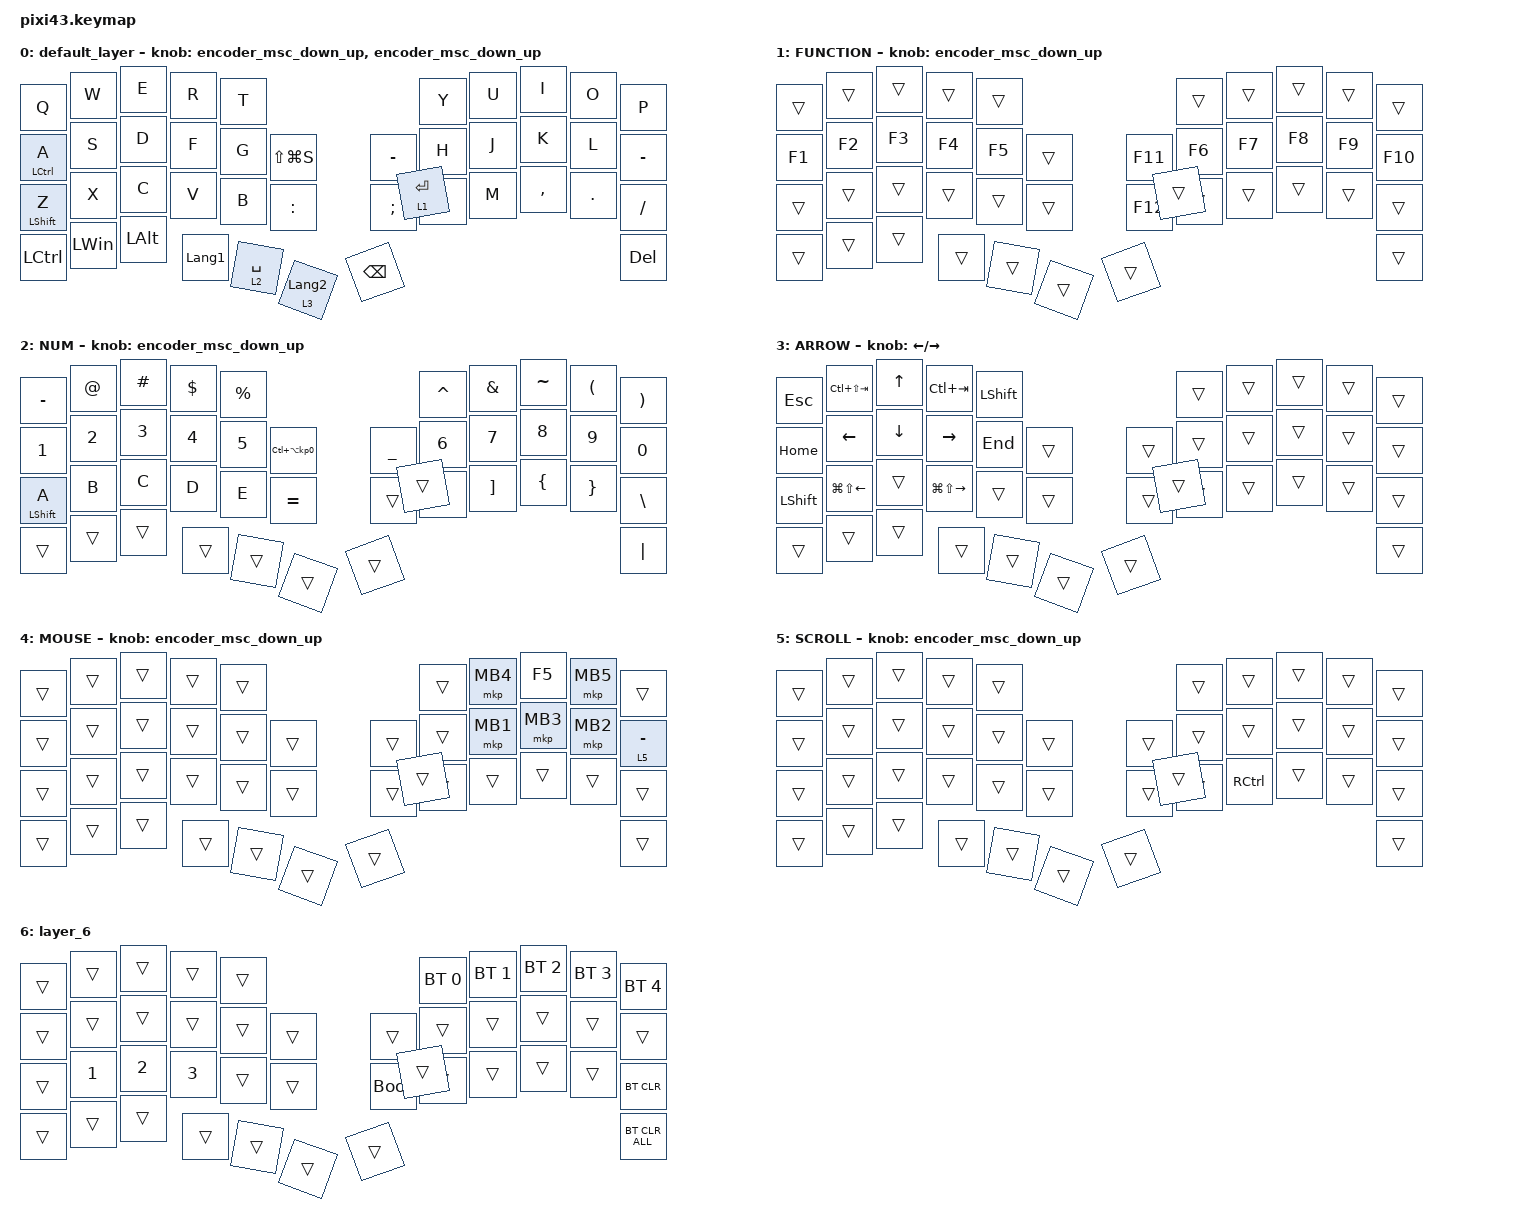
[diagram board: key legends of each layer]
#include <behaviors.dtsi>
#include <dt-bindings/zmk/bt.h>
#include <dt-bindings/zmk/keys.h>
#include <dt-bindings/zmk/pointing.h>

#define ZMK_POINTING_DEFAULT_SCRL_VAL 80

&mt {
    flavor = "balanced";
    quick-tap-ms = <0>;
};

&trackball {
    automouse-layer = <4>;
    scroll-layers = <5>;

    // arrows {
    //     layers = <3>;
    //     bindings =
    //         <&kp RIGHT_ARROW>,
    //         <&kp LEFT_ARROW>,
    //         <&kp UP_ARROW>,
    //         <&kp DOWN_ARROW>;
    //     tick = <10>;
    //     wait-ms = <5>;
    //     tap-ms = <5>;
    // };
};

/ {
    combos {
        compatible = "zmk,combos";

        tab {
            bindings = <&kp TAB>;
            key-positions = <11 12>;
        };

        shift_tab {
            bindings = <&kp LS(TAB)>;
            key-positions = <12 13>;
        };

        double_quotation {
            bindings = <&kp DOUBLE_QUOTES>;
            key-positions = <20 21>;
        };

        eq {
            bindings = <&kp EQUAL>;
            key-positions = <24 25>;
        };

        Setting {
            bindings = <&tog 6>;
            key-positions = <39 40>;
        };
    };

    macros {
        to_layer_0: to_layer_0 {
            compatible = "zmk,behavior-macro-one-param";
            #binding-cells = <1>;
            bindings = <&to 0 &macro_param_1to1 &kp MACRO_PLACEHOLDER>;
            label = "TO_LAYER_0";
        };
    };

    behaviors {
        encoder_msc_down_up: encoder_msc_down_up {
            compatible = "zmk,behavior-sensor-rotate";
            label = "ENCODER_MSC_DOWN_UP";
            #sensor-binding-cells = <0>;
            bindings = <&msc SCRL_DOWN>, <&msc SCRL_UP>;

            tap-ms = <20>;
        };
    };

    behaviors {
        lt_to_layer_0: lt_to_layer_0 {
            compatible = "zmk,behavior-hold-tap";
            label = "LAYER_TAP_TO_0";
            bindings = <&mo>, <&to_layer_0>;

            #binding-cells = <2>;
            tapping-term-ms = <200>;
        };
    };

    keymap {
        compatible = "zmk,keymap";

        default_layer {
            bindings = <
&kp Q               &kp W         &kp E         &kp R           &kp T                                             &kp Y        &kp U  &kp I      &kp O    &kp P
&mt LEFT_CONTROL A  &kp S         &kp D         &kp F           &kp G        &kp LS(LG(S))         &kp MINUS      &kp H        &kp J  &kp K      &kp L    &kp MINUS
&mt LEFT_SHIFT Z    &kp X         &kp C         &kp V           &kp B        &kp COLON             &kp SEMICOLON  &kp N        &kp M  &kp COMMA  &kp DOT  &kp SLASH
&kp LEFT_CONTROL    &kp LEFT_WIN  &kp LEFT_ALT  &kp LANGUAGE_1  &lt 2 SPACE  &lt 3 LANGUAGE_2      &kp BACKSPACE  &lt 1 ENTER                             &kp DEL
            >;

            sensor-bindings = <&encoder_msc_down_up>, <&encoder_msc_down_up>;
        };

        FUNCTION {
            bindings = <
&trans  &trans  &trans  &trans  &trans                       &trans  &trans  &trans  &trans  &trans
&kp F1  &kp F2  &kp F3  &kp F4  &kp F5  &trans      &kp F11  &kp F6  &kp F7  &kp F8  &kp F9  &kp F10
&trans  &trans  &trans  &trans  &trans  &trans      &kp F12  &trans  &trans  &trans  &trans  &trans
&trans  &trans  &trans  &trans  &trans  &trans      &trans   &trans                          &trans
            >;

            sensor-bindings = <&encoder_msc_down_up>;
        };

        NUM {
            bindings = <
&kp MINUS         &kp AT_SIGN   &kp HASH      &kp DOLLAR    &kp PERCENT                                                &kp CARET         &kp AMPERSAND      &kp TILDE       &kp LEFT_PARENTHESIS  &kp RIGHT_PARENTHESIS
&kp NUMBER_1      &kp NUMBER_2  &kp NUMBER_3  &kp NUMBER_4  &kp NUMBER_5  &kp LC(LA(KP_NUMBER_0))      &kp UNDERSCORE  &kp NUMBER_6      &kp NUMBER_7       &kp NUMBER_8    &kp NUMBER_9          &kp NUMBER_0
&mt LEFT_SHIFT A  &kp B         &kp C         &kp D         &kp E         &kp EQUAL                    &trans          &kp LEFT_BRACKET  &kp RIGHT_BRACKET  &kp LEFT_BRACE  &kp RIGHT_BRACE       &kp BACKSLASH
&trans            &trans        &trans        &trans        &trans        &trans                       &trans          &trans                                                                     &kp PIPE
            >;

            sensor-bindings = <&encoder_msc_down_up>;
        };

        ARROW {
            bindings = <
&kp ESCAPE      &kp LC(LS(TAB))         &kp UP_ARROW    &kp LC(TAB)              &kp LEFT_SHIFT                      &trans  &trans  &trans  &trans  &trans
&kp HOME        &kp LEFT_ARROW          &kp DOWN_ARROW  &kp RIGHT_ARROW          &kp END         &trans      &trans  &trans  &trans  &trans  &trans  &trans
&kp LEFT_SHIFT  &kp LG(LS(LEFT_ARROW))  &trans          &kp LG(LS(RIGHT_ARROW))  &trans          &trans      &trans  &trans  &trans  &trans  &trans  &trans
&trans          &trans                  &trans          &trans                   &trans          &trans      &trans  &trans                          &trans
            >;

            sensor-bindings = <&inc_dec_kp LEFT_ARROW RIGHT_ARROW>;
        };

        MOUSE {
            bindings = <
&trans  &trans  &trans  &trans  &trans                      &trans  &mkp MB4  &kp F5    &mkp MB5  &trans
&trans  &trans  &trans  &trans  &trans  &trans      &trans  &trans  &mkp MB1  &mkp MB3  &mkp MB2  &lt 5 MINUS
&trans  &trans  &trans  &trans  &trans  &trans      &trans  &trans  &trans    &trans    &trans    &trans
&trans  &trans  &trans  &trans  &trans  &trans      &trans  &trans                                &trans
            >;

            sensor-bindings = <&encoder_msc_down_up>;
        };

        SCROLL {
            bindings = <
&trans  &trans  &trans  &trans  &trans                      &trans  &trans             &trans  &trans  &trans
&trans  &trans  &trans  &trans  &trans  &trans      &trans  &trans  &trans             &trans  &trans  &trans
&trans  &trans  &trans  &trans  &trans  &trans      &trans  &trans  &kp RIGHT_CONTROL  &trans  &trans  &trans
&trans  &trans  &trans  &trans  &trans  &trans      &trans  &trans                                     &trans
            >;

            sensor-bindings = <&encoder_msc_down_up>;
        };

        layer_6 {
            bindings = <
&trans  &trans        &trans        &trans        &trans                           &bt BT_SEL 0  &bt BT_SEL 1  &bt BT_SEL 2  &bt BT_SEL 3  &bt BT_SEL 4
&trans  &trans        &trans        &trans        &trans  &trans      &trans       &trans        &trans        &trans        &trans        &trans
&trans  &kp NUMBER_1  &kp NUMBER_2  &kp NUMBER_3  &trans  &trans      &bootloader  &trans        &trans        &trans        &trans        &bt BT_CLR
&trans  &trans        &trans        &trans        &trans  &trans      &trans       &trans                                                  &bt BT_CLR_ALL
            >;
        };
    };
};
